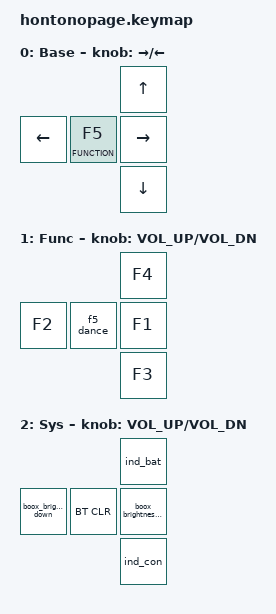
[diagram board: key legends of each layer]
#include <behaviors/rgbled_widget.dtsi>
#include <behaviors.dtsi>
#include <dt-bindings/zmk/keys.h>
#include <dt-bindings/zmk/bt.h>

#define DEFAULT 0
#define FUNCTION 1
#define SYSTEM 2

&mt {
    flavor = "balanced";
    quick-tap-ms = <0>;
};

/ {
    // マクロ定義
    macros {
        // Boox専用マクロ（Fn系のみ）
        boox_refresh: boox_refresh {
            compatible = "zmk,behavior-macro";
            #binding-cells = <0>;
            wait-ms = <40>;
            tap-ms = <40>;
            bindings = <&macro_press &kp LALT>, <&macro_tap &kp N5>, <&macro_release &kp LALT>;  // Fn + 5 フルリフレッシュ
        };
        
        boox_search: boox_search {
            compatible = "zmk,behavior-macro";
            #binding-cells = <0>;
            wait-ms = <40>;
            tap-ms = <40>;
            bindings = <&macro_press &kp LALT>, <&macro_tap &kp EQUAL>, <&macro_release &kp LALT>;  // Fn + = 検索
        };
        
        boox_brightness_up: boox_brightness_up {
            compatible = "zmk,behavior-macro";
            #binding-cells = <0>;
            wait-ms = <40>;
            tap-ms = <40>;
            bindings = <&macro_press &kp LALT>, <&macro_tap &kp N4>, <&macro_release &kp LALT>;  // Fn + 4 明るさ+
        };
        
        boox_brightness_down: boox_brightness_down {
            compatible = "zmk,behavior-macro";
            #binding-cells = <0>;
            wait-ms = <40>;
            tap-ms = <40>;
            bindings = <&macro_press &kp LALT>, <&macro_tap &kp N3>, <&macro_release &kp LALT>;  // Fn + 3 明るさ-
        };
        
        // 便利マクロ
        email_macro: email_macro {
            compatible = "zmk,behavior-macro";
            #binding-cells = <0>;
            wait-ms = <40>;
            tap-ms = <40>;
            bindings = <&kp AT &kp G &kp M &kp A &kp I &kp L &kp DOT &kp C &kp O &kp M>;
        };
    };

    // タップダンス定義
    behaviors {
        // F5キーのタップダンス：1回でF5、2回でBooxフルリフレッシュ、3回で次ページ
        f5_dance: tap_dance_f5 {
            compatible = "zmk,behavior-tap-dance";
            #binding-cells = <0>;
            tapping-term-ms = <300>;
            bindings = <&kp F5>, <&boox_refresh>, <&kp RIGHT>;
        };
        
        // 右キーのタップダンス：1回で→、2回でAlt+Tab（マルチタスク）、3回でEnd
        right_dance: tap_dance_right {
            compatible = "zmk,behavior-tap-dance";
            #binding-cells = <0>;
            tapping-term-ms = <300>;
            bindings = <&kp RIGHT>, <&kp LA(TAB)>, <&kp END>;
        };
        
        // ホームキーのタップダンス：1回でホーム、2回でBoox検索、3回でCtrl+Home
        home_dance: tap_dance_home {
            compatible = "zmk,behavior-tap-dance";
            #binding-cells = <0>;
            tapping-term-ms = <300>;
            bindings = <&kp C_AC_HOME>, <&boox_search>, <&kp LC(HOME)>;
        };
    };

    // コンボ機能の定義
    combos {
        compatible = "zmk,combos";
        
        // 左+中央キーでFunction層へ
        combo_function {
            timeout-ms = <50>;
            key-positions = <1 2>;
            bindings = <&mo FUNCTION>;
        };
        
        // 左+右キーでSystem層
        combo_system {
            timeout-ms = <50>;
            key-positions = <1 3>;
            bindings = <&mo SYSTEM>;
        };
        
        // 上+下キーでスクリーンショット
        combo_screenshot {
            timeout-ms = <100>;
            key-positions = <0 4>;
            bindings = <&kp LA(N9)>;  // Fn + 9
        };
        
        // 右+下キーでブートローダー（緊急時）
        combo_bootloader {
            timeout-ms = <100>;
            key-positions = <3 4>;
            bindings = <&bootloader>;
        };
    };

    keymap {
        compatible = "zmk,keymap";

        default_layer {
            label = "Base";
            bindings = <
                &kp UP             // 上
                &kp LEFT           // 左
                &lt FUNCTION F5    // 中：F5（ホールドでFunction層）
                &kp RIGHT          // 右
                &kp DOWN           // 下
            >;

            sensor-bindings = <&inc_dec_kp RIGHT LEFT>;  // 右で次ページ、左で前ページ
        };

        function_layer {
            label = "Func";
            bindings = <
                &kp F4             // 上：F4
                &kp F2             // 左：F2
                &f5_dance          // 中：F5/フルリフレッシュ/次ページ
                &kp F1             // 右：F1
                &kp F3             // 下：F3
            >;

            sensor-bindings = <&inc_dec_kp C_VOL_UP C_VOL_DN>;  // 音量調整
        };

        system_layer {
            label = "Sys";
            bindings = <
                &ind_bat           // 上：バッテリー表示
                &boox_brightness_down  // 左：Boox明るさ下げ
                &bt BT_CLR         // 中：現在のプロファイル削除
                &boox_brightness_up    // 右：Boox明るさ上げ
                &ind_con           // 下：接続状態表示
            >;

            sensor-bindings = <&inc_dec_kp C_VOL_UP C_VOL_DN>;  // 音量調整
        };
    };
};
